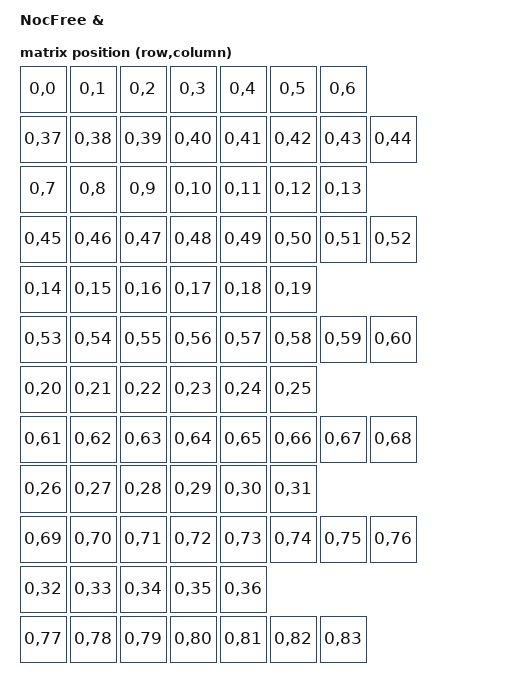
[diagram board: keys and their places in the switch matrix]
/*
 * Copyright (c) 2026 The NocFree ZMK Contributors
 *
 * SPDX-License-Identifier: MIT
 */

/dts-v1/;

#include <nordic/nrf52833_qiaa.dtsi>
#include <common/nordic/nrf52833_uf2_boot_mode.dtsi>
#include <dt-bindings/i2c/i2c.h>
#include <dt-bindings/zmk/matrix_transform.h>

#include "nocfree_and-pinctrl.dtsi"
#include "nocfree_and-layouts.dtsi"

/ {
    model = "NocFree &";
    compatible = "nocfree,nocfree-and";

    chosen {
        zephyr,code-partition = &code_partition;
        zephyr,sram = &sram0;
        zephyr,flash = &flash0;
        zmk,physical-layout = &ansi_layout;
    };

    /*
     * The keys are not an electrical row/column matrix: every key has its own
     * expander input. The transform is therefore a single logical row of 84
     * independent columns, listed here in visual reading order.
     *
     * Columns 0-36 are the left half and columns 37-83 are the right half.
     * Each half reports its own local column index; the right half shifts its
     * indices into the second range with col-offset, so both halves resolve to
     * the same global keymap positions. That is what lets the split peripheral
     * send absolute positions to the central.
     */
    matrix_transform0: keymap_transform_0 {
        compatible = "zmk,matrix-transform";
        rows = <1>;
        columns = <84>;

        map = <
            /* Function row */
            RC(0,0)  RC(0,1)  RC(0,2)  RC(0,3)  RC(0,4)  RC(0,5)  RC(0,6)
            RC(0,37) RC(0,38) RC(0,39) RC(0,40) RC(0,41) RC(0,42) RC(0,43) RC(0,44)
            /* Number row */
            RC(0,7)  RC(0,8)  RC(0,9)  RC(0,10) RC(0,11) RC(0,12) RC(0,13)
            RC(0,45) RC(0,46) RC(0,47) RC(0,48) RC(0,49) RC(0,50) RC(0,51) RC(0,52)
            /* Tab row */
            RC(0,14) RC(0,15) RC(0,16) RC(0,17) RC(0,18) RC(0,19)
            RC(0,53) RC(0,54) RC(0,55) RC(0,56) RC(0,57) RC(0,58) RC(0,59) RC(0,60)
            /* Home row */
            RC(0,20) RC(0,21) RC(0,22) RC(0,23) RC(0,24) RC(0,25)
            RC(0,61) RC(0,62) RC(0,63) RC(0,64) RC(0,65) RC(0,66) RC(0,67) RC(0,68)
            /* Shift row */
            RC(0,26) RC(0,27) RC(0,28) RC(0,29) RC(0,30) RC(0,31)
            RC(0,69) RC(0,70) RC(0,71) RC(0,72) RC(0,73) RC(0,74) RC(0,75) RC(0,76)
            /* Bottom row */
            RC(0,32) RC(0,33) RC(0,34) RC(0,35) RC(0,36)
            RC(0,77) RC(0,78) RC(0,79) RC(0,80) RC(0,81) RC(0,82) RC(0,83)
        >;
    };
};

/*
 * No GPIO pin is used by this port -- the only pins it configures are the two
 * I2C lines, through pinctrl. The controllers are enabled so the board can be
 * extended without a devicetree change, and GPIOTE is required alongside them
 * by the nRF GPIO driver.
 */
&gpiote {
    status = "okay";
};

&gpio0 {
    status = "okay";
};

&gpio1 {
    status = "okay";
};

/*
 * Key-input bus.
 *
 * Standard mode (100 kHz) is the conservative default for this port. NocFree
 * documents 400 kHz for the factory firmware and the PCA9555 family is rated
 * for it, but bus margin depends on the interconnect capacitance and pull-up
 * values of a specific unit, which this port has not measured. Any bus that
 * works at 400 kHz also works at 100 kHz, so standard mode is the setting that
 * is safe under either assumption. See docs/architecture.md before raising it.
 */
&i2c0 {
    status = "okay";
    clock-frequency = <I2C_BITRATE_STANDARD>;
    pinctrl-0 = <&i2c0_default>;
    pinctrl-1 = <&i2c0_sleep>;
    pinctrl-names = "default", "sleep";

    pca20: keys@20 {
        compatible = "nocfree,pca9555-keys";
        reg = <0x20>;
        #key-cells = <1>;
        status = "okay";
    };

    pca22: keys@22 {
        compatible = "nocfree,pca9555-keys";
        reg = <0x22>;
        #key-cells = <1>;
        status = "okay";
    };

    pca24: keys@24 {
        compatible = "nocfree,pca9555-keys";
        reg = <0x24>;
        #key-cells = <1>;
        status = "okay";
    };
};

zephyr_udc0: &usbd {
    status = "okay";

    cdc_acm_uart0: cdc_acm_uart0 {
        compatible = "zephyr,cdc-acm-uart";
    };
};

/*
 * Flash layout.
 *
 * The device ships with the Adafruit nRF52 UF2 bootloader and an S140 v7
 * SoftDevice. Both regions and the factory filesystem are preserved so the
 * vendor rollback path stays intact; this firmware only ever occupies the
 * application region.
 *
 * The boundaries come from the two public Adafruit linker scripts:
 *   - Adafruit_nRF52_Arduino 1.7.0 cores/nRF5/linker/nrf52833_s140_v7.ld
 *       FLASH ORIGIN = 0x27000, LENGTH = 0x6D000 - 0x27000
 *   - Adafruit_nRF52_Bootloader linker/nrf52833.ld
 *       bootloader 0x74000, config 0x7D800, MBR params 0x7E000,
 *       bootloader settings 0x7F000
 *
 *   0x00000..0x26fff  MBR + S140 v7          preserved, never written
 *   0x27000..0x64fff  ZMK application        248 KiB
 *   0x65000..0x6cfff  ZMK settings (NVS)      32 KiB
 *   0x6d000..0x73fff  factory filesystem     preserved, deliberately unmapped
 *   0x74000..0x7ffff  bootloader + metadata  preserved, never written
 *
 * Verify this against INFO_UF2.TXT on the bootloader drive before flashing.
 */
&flash0 {
    partitions {
        compatible = "fixed-partitions";
        #address-cells = <1>;
        #size-cells = <1>;

        sd_partition: partition@0 {
            label = "softdevice";
            reg = <0x00000000 0x00027000>;
            read-only;
        };

        code_partition: partition@27000 {
            label = "code";
            reg = <0x00027000 0x0003e000>;
        };

        storage_partition: partition@65000 {
            label = "storage";
            reg = <0x00065000 0x00008000>;
        };

        /* 0x6d000..0x73fff is the preserved factory filesystem. */

        boot_partition: partition@74000 {
            label = "adafruit_boot";
            reg = <0x00074000 0x0000c000>;
            read-only;
        };
    };
};
